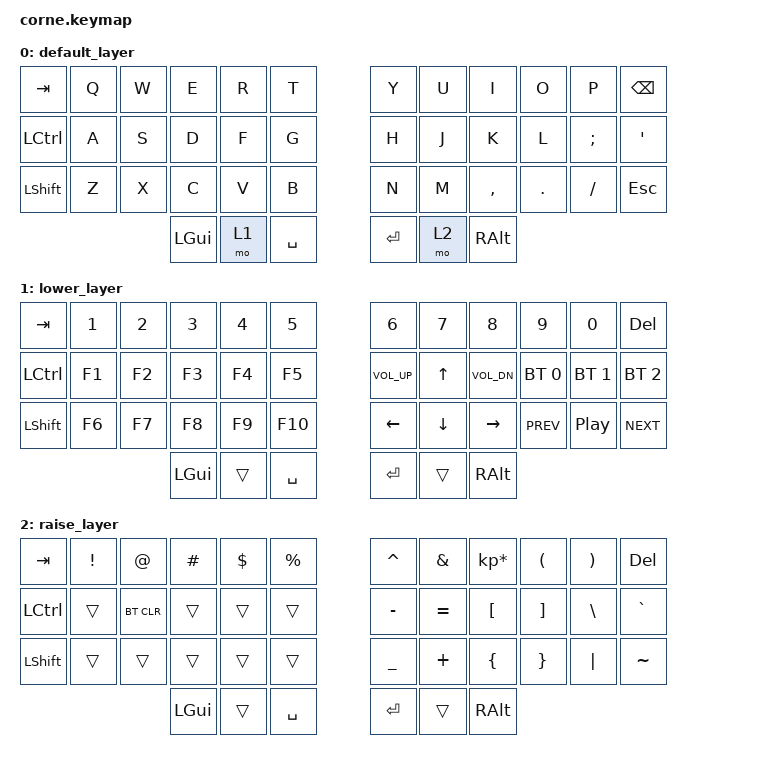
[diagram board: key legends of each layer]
/*
 * Copyright (c) 2020 The ZMK Contributors
 *
 * SPDX-License-Identifier: MIT
 */

#include <behaviors.dtsi>
#include <dt-bindings/zmk/keys.h>
#include <dt-bindings/zmk/bt.h>


/ {
        keymap {
                compatible = "zmk,keymap";

                default_layer {
// -----------------------------------------------------------------------------------------
// | tab |  Q  |  W  |  E  |  R  |  T  |   |  Y  |  U   |  I  |  O  |  P  | BKSP |
// | CTRL|  A  |  S  |  D  |  F  |  G  |   |  H  |  J   |  K  |  L  |  ;  |  '   |
// | SHFT|  Z  |  X  |  C  |  V  |  B  |   |  N  |  M   |  ,  |  .  |  /  | ESC  |
//                    | GUI | LWR | SPC |   | ENT | RSE  | ALT |
                        bindings = <
   &kp TAB   &kp Q &kp W &kp E &kp R &kp T           &kp Y &kp U  &kp I     &kp O   &kp P    &kp BSPC
   &kp LCTRL &kp A &kp S &kp D &kp F &kp G           &kp H &kp J  &kp K     &kp L   &kp SEMI &kp SQT
   &kp LSHFT &kp Z &kp X &kp C &kp V &kp B           &kp N &kp M  &kp COMMA &kp DOT &kp FSLH &kp ESC
                  &kp LGUI &mo 1 &kp SPACE           &kp RET &mo 2 &kp RALT
                        >;
                };
                lower_layer {
// -----------------------------------------------------------------------------------------
// |  TAB |  1  |  2  |  3  |  4  |  5  |   |  6  |  7  |  8  |  9  |  0  | DEL  |
// | CTRL |  F1 |  F2 | F3  | F4  | F5  |   |V_UP | UP  |V_DWN| BT1 | BT2 | BT3  |
// | SHFT |  F6 | F7  | F8  | F9  | F10 |   | LFT | DWN | RGT |MPREV|MMUTE|MNEXT |
//                    | GUI |     | SPC |   | ENT |     | ALT |
                       bindings = <
   &kp TAB    &kp N1   &kp N2   &kp N3   &kp N4  &kp N5               &kp N6       &kp N7   &kp N8       &kp N9       &kp N0        &kp DEL
   &kp LCTRL  &kp F1   &kp F2   &kp F3   &kp F4  &kp F5               &kp C_VOL_UP &kp UP   &kp C_VOL_DN &bt BT_SEL 0 &bt BT_SEL 1  &bt BT_SEL 2
   &kp LSHFT  &kp F6   &kp F7   &kp F8   &kp F9  &kp F10              &kp LEFT     &kp DOWN &kp RIGHT    &kp C_PREV   &kp C_PP      &kp C_NEXT
                                &kp LGUI &trans  &kp SPACE            &kp RET      &trans   &kp RALT
                        >;
                };

                raise_layer {
// -----------------------------------------------------------------------------------------
// |  TAB |  !  |  @  |  #  |  $  |  %  |   |  ^  |  &  |  *  |  (  |  )  | BKSP |
// | CTRL |     |BTCLR|     |     |     |   |  -  |  =  |  [  |  ]  |  \  |  `   |
// | SHFT |     |     |     |     |     |   |  _  |  +  |  {  |  }  | "|" |  ~   |
//                    | GUI |     | SPC |   | ENT |     | ALT |
                        bindings = <
   &kp  TAB  &kp EXCL &kp AT     &kp HASH  &kp DLLR &kp PRCNT     &kp CARET  &kp AMPS  &kp KP_MULTIPLY &kp LPAR &kp RPAR &kp DEL
   &kp LCTRL &trans   &bt BT_CLR &trans    &trans   &trans        &kp MINUS  &kp EQUAL &kp LBKT        &kp RBKT &kp BSLH &kp GRAVE
   &kp LSHFT &trans   &trans     &trans    &trans   &trans        &kp UNDER  &kp PLUS  &kp LBRC        &kp RBRC &kp PIPE &kp TILDE
                    	         &kp LGUI  &trans   &kp SPACE     &kp RET    &trans    &kp RALT
                        >;
                };
        };
};
